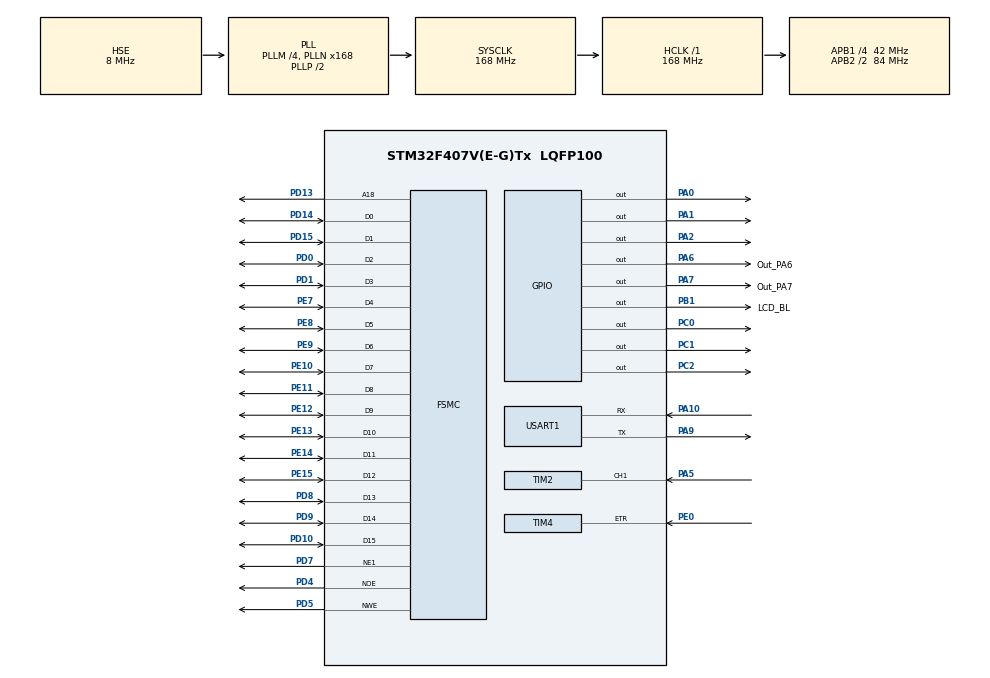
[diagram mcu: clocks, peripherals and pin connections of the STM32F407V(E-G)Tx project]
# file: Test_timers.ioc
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Dma.Request0=USART1_RX
Dma.USART1_RX.0.Direction=DMA_PERIPH_TO_MEMORY
Dma.USART1_RX.0.FIFOMode=DMA_FIFOMODE_DISABLE
Dma.USART1_RX.0.Instance=DMA2_Stream2
Dma.USART1_RX.0.MemDataAlignment=DMA_MDATAALIGN_HALFWORD
Dma.USART1_RX.0.MemInc=DMA_MINC_ENABLE
Dma.USART1_RX.0.Mode=DMA_CIRCULAR
Dma.USART1_RX.0.PeriphDataAlignment=DMA_PDATAALIGN_HALFWORD
Dma.USART1_RX.0.PeriphInc=DMA_PINC_DISABLE
Dma.USART1_RX.0.Priority=DMA_PRIORITY_MEDIUM
FSMC.AddressSetupTime1=1
FSMC.BusTurnAroundDuration1=0
FSMC.DataSetupTime1=5
Mcu.Family=STM32F4
Mcu.Name=STM32F407V(E-G)Tx
Mcu.Package=LQFP100
NVIC.DMA2_Stream2_IRQn=true\:0\:0\:false\:false\:true\:true\:true\:true
NVIC.PriorityGroup=NVIC_PRIORITYGROUP_4
NVIC.TIM2_IRQn=true\:0\:0\:false\:false\:true\:true\:true\:true
NVIC.TIM3_IRQn=true\:0\:0\:false\:false\:true\:true\:true\:true
NVIC.USART1_IRQn=true\:0\:0\:false\:false\:true\:true\:true\:true
PA0-WKUP.GPIO_Speed=GPIO_SPEED_FREQ_MEDIUM
PA0-WKUP.Signal=GPIO_Output
PA1.GPIO_Speed=GPIO_SPEED_FREQ_MEDIUM
PA1.Signal=GPIO_Output
PA10.Mode=Asynchronous
PA10.Signal=USART1_RX
PA13.Mode=Serial_Wire
PA13.Signal=SYS_JTMS-SWDIO
PA14.Mode=Serial_Wire
PA14.Signal=SYS_JTCK-SWCLK
PA2.GPIO_Speed=GPIO_SPEED_FREQ_MEDIUM
PA2.Signal=GPIO_Output
PA5.GPIO_PuPd=GPIO_PULLDOWN
PA5.Signal=S_TIM2_CH1_ETR
PA6.GPIO_Label=Out_PA6
PA6.Signal=GPIO_Output
PA7.GPIO_Label=Out_PA7
PA7.Signal=GPIO_Output
PA9.Mode=Asynchronous
PA9.Signal=USART1_TX
PB1.GPIO_Label=LCD_BL
PB1.Signal=GPIO_Output
PC0.GPIO_Speed=GPIO_SPEED_FREQ_MEDIUM
PC0.Signal=GPIO_Output
PC1.GPIO_Speed=GPIO_SPEED_FREQ_MEDIUM
PC1.Signal=GPIO_Output
PC2.GPIO_Speed=GPIO_SPEED_FREQ_MEDIUM
PC2.Signal=GPIO_Output
PD0.Mode=16b-d1
PD0.Signal=FSMC_D2
PD1.Mode=16b-d1
PD1.Signal=FSMC_D3
PD10.Mode=16b-d1
PD10.Signal=FSMC_D15
PD13.Mode=A18_1
PD13.Signal=FSMC_A18
PD14.Mode=16b-d1
PD14.Signal=FSMC_D0
PD15.Mode=16b-d1
PD15.Signal=FSMC_D1
PD4.Mode=Lcd1
PD4.Signal=FSMC_NOE
PD5.Mode=Lcd1
PD5.Signal=FSMC_NWE
PD7.Mode=NorPsramChipSelect1_1
PD7.Signal=FSMC_NE1
PD8.Mode=16b-d1
PD8.Signal=FSMC_D13
PD9.Mode=16b-d1
PD9.Signal=FSMC_D14
PE0.GPIO_PuPd=GPIO_PULLDOWN
PE0.Signal=S_TIM4_ETR
PE10.Mode=16b-d1
PE10.Signal=FSMC_D7
PE11.Mode=16b-d1
PE11.Signal=FSMC_D8
PE12.Mode=16b-d1
PE12.Signal=FSMC_D9
PE13.Mode=16b-d1
PE13.Signal=FSMC_D10
PE14.Mode=16b-d1
PE14.Signal=FSMC_D11
PE15.Mode=16b-d1
PE15.Signal=FSMC_D12
PE7.Mode=16b-d1
PE7.Signal=FSMC_D4
PE8.Mode=16b-d1
PE8.Signal=FSMC_D5
PE9.Mode=16b-d1
PE9.Signal=FSMC_D6
PH0-OSC_IN.Mode=HSE-External-Oscillator
PH0-OSC_IN.Signal=RCC_OSC_IN
PH1-OSC_OUT.Mode=HSE-External-Oscillator
PH1-OSC_OUT.Signal=RCC_OSC_OUT
ProjectManager.HeapSize=0x200
ProjectManager.StackSize=0x400
ProjectManager.TargetToolchain=STM32CubeIDE
RCC.48MHZClocksFreq_Value=84000000
RCC.AHBFreq_Value=168000000
RCC.APB1CLKDivider=RCC_HCLK_DIV4
RCC.APB1Freq_Value=42000000
RCC.APB1TimFreq_Value=84000000
RCC.APB2CLKDivider=RCC_HCLK_DIV2
RCC.APB2Freq_Value=84000000
RCC.APB2TimFreq_Value=168000000
RCC.CortexFreq_Value=168000000
RCC.HCLKFreq_Value=168000000
RCC.HSE_VALUE=8000000
RCC.HSI_VALUE=16000000
RCC.LSE_VALUE=32768
RCC.PLLM=4
RCC.PLLN=168
RCC.PLLSourceVirtual=RCC_PLLSOURCE_HSE
RCC.RCC_MCO1Source=RCC_MCO1SOURCE_HSE
RCC.RCC_MCODiv1=RCC_MCODIV_5
RCC.SYSCLKFreq_VALUE=168000000
RCC.SYSCLKSource=RCC_SYSCLKSOURCE_PLLCLK
RCC.VCOOutputFreq_Value=336000000
SH.S_TIM2_CH1_ETR.0=TIM2_CH1,Input_Capture1_from_TI1
SH.S_TIM4_ETR.0=TIM4_ETR,ClockSourceETR_Mode2
TIM2.Channel-Input_Capture1_from_TI1=TIM_CHANNEL_1
TIM2.Channel-Input_Capture2_from_TI1_63=TIM_CHANNEL_2
TIM2.Period=6000000-1
TIM2.Prescaler=84-1
TIM2.TIM_MasterOutputTrigger=TIM_TRGO_UPDATE
TIM3.Period=2000-1
TIM3.Prescaler=8400-1
TIM3.TIM_MasterOutputTrigger=TIM_TRGO_ENABLE
TIM4.TIM_MasterOutputTrigger=TIM_TRGO_UPDATE
USART1.VirtualMode=VM_ASYNC
VP_TIM2_VS_indirect_ch1.Mode=Input_Capture2_from_TI1_63
VP_TIM3_VS_OPM.Mode=OPM_bit
VP_TIM4_VS_ClockSourceITR.Mode=TriggerSource_ITR2
VP_TIM4_VS_ControllerModeGated.Mode=Gated Mode
board=custom

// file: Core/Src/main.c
/* USER CODE BEGIN Header */
/*
 * Этап 1. (Данные с расходомера)
 *
 * При старте, таймер №3 будет аппаратно подавать этот сигнал на таймер №4
 * и тем самым запускать его. При остановке таймера №3 этот сигнал будет снят
 * и таймер №4 остановится. То есть, мы «вручную» запустили таймер №3
 * (пошёл отсчёт секунды), а он в свою очередь «толкает» таймер №4, который
 * начинает тактироваться от измеряемой частоты и складывать поступающие импульсы
 * в свой счётчик. Таким образом у нас получается следующее:
 * оба таймера, №3 (отмеряющий секундный интервал? - 0,2 у нас) и №4 (считающий импульсы)
 * стартанут чётко одновременно, а когда таймер №3 отмерит секунду (?) 0,2 сек и остановится,
 * то и таймер №4 тоже остановится (перестанет считать импульсы) — в счётчике
 * таймера №4 будет лежать количество импульсов входящей частоты полученные
 * за одну секунду (?) 0,2 сек со входа TIM4_ETR.
 * Для плавности - таймер 3 работает с частотой 5 Гц
 *
 * Этап 2. (Датчик скорости)
 *
 * Измерение частоты импульсов с датчика скорости производится путем вычисления длины импульса
 * в режиме сравнения таймера 2. Зная длительность импульса, вычисляем частоту и соответственно
 * скорость движения агрегата.
 *
 * Скорость в км/ч = Частота импульсов с датчика * (Кол-во ипм на 100м / 100) * 3.6; (3.6 коэф перевода м/с в км/час)
 *
 */
/* USER CODE END Header */
#include "main.h"
#include "dma.h"
#include "tim.h"
#include "usart.h"
#include "gpio.h"
#include "fsmc.h"

/* USER CODE BEGIN Includes */
#include <stdio.h>
#include <stdlib.h>
#include <string.h>
#include "ad9833.h"
#include "lcd_app.h"
/* USER CODE END Includes */

/* USER CODE BEGIN PD */

//------------------- ВКЛ - ВЫКЛ -------------------------------------------------------------------------------
#define PRINT_TO_LCD_ON                 // ВКЛ инициализация LCD и печать данных на нем
//---------------------------------------------------------------------------------------------------------------

/* USER CODE END PD */

/* USER CODE BEGIN PV */

//-------НЕ ТРОГАТЬ !!! Глобальные переменные------------------------------------------------------------------
uint16_t input_pulse_counter          = 0;        // счетчи кол-ва импульсов за (1/freq_measure_input_pulse =0.2 сек)
uint32_t duration_input_pulse_mks = 0;            // длительность входного импульса в мкс (с датчика скорости (генератора))

//---НЕ трогать !!! Флаги прерываний !---------------------------------------------------------------------------
bool flag_flowmeter_tim3_IT = false;          // флаг сработки таймера 3 по прерыванию (счет EXT imp flowmeter)
bool flag_dwin_tx_IT = false;                 // флаг получения данных от DWIN в буфер UART
bool flag_tim2_IT = false;            // флаг сработки таймера 2 по прерыванию (счет EXT имп speedmeter)
bool flag_tim2_IT_NON_inpuls = false; // флаг сработки таймера 2 по прерыванию (переполнение счетчика)
                                                 // для отслеживания пропадания входных импульсов
//---------------------------------------------------------------------------------------------------------------
/* USER CODE END PV */

void SystemClock_Config(void);
/* USER CODE BEGIN PFP */

//void DWIN_Reset_var(void);
/* USER CODE END PFP */

int main(void)
{

  /* MCU Configuration--------------------------------------------------------*/

  /* Reset of all peripherals, Initializes the Flash interface and the Systick. */
  HAL_Init();

  /* Configure the system clock */
  SystemClock_Config();

  /* Initialize all configured peripherals */
  MX_GPIO_Init();
  MX_DMA_Init();
  MX_FSMC_Init();
  MX_TIM3_Init();
  MX_TIM4_Init();
  MX_USART1_UART_Init();
  MX_TIM2_Init();
  /* USER CODE BEGIN 2 */
#ifdef PRINT_TO_LCD_ON
	LCD_Start();
#endif /*PRINT_TO_LCD_ON*/

	DWIN_Start_page();
	INIT_AD9833 ();
	dwinUartDmaInit();

  /* USER CODE END 2 */

  /* Infinite loop */
  /* USER CODE BEGIN WHILE */
//=========================================================================================================================================
	while (1) {
//=========================================================================================================================================

		DWIN_Select_mode();

    /* USER CODE END WHILE */

	}
}

void SystemClock_Config(void)
{
  RCC_OscInitTypeDef RCC_OscInitStruct = {0};
  RCC_ClkInitTypeDef RCC_ClkInitStruct = {0};

  /** Configure the main internal regulator output voltage
  */
  __HAL_RCC_PWR_CLK_ENABLE();
  __HAL_PWR_VOLTAGESCALING_CONFIG(PWR_REGULATOR_VOLTAGE_SCALE1);

  /** Initializes the RCC Oscillators according to the specified parameters
  * in the RCC_OscInitTypeDef structure.
  */
  RCC_OscInitStruct.OscillatorType = RCC_OSCILLATORTYPE_HSE;
  RCC_OscInitStruct.HSEState = RCC_HSE_ON;
  RCC_OscInitStruct.PLL.PLLState = RCC_PLL_ON;
  RCC_OscInitStruct.PLL.PLLSource = RCC_PLLSOURCE_HSE;
  RCC_OscInitStruct.PLL.PLLM = 4;
  RCC_OscInitStruct.PLL.PLLN = 168;
  RCC_OscInitStruct.PLL.PLLP = RCC_PLLP_DIV2;
  RCC_OscInitStruct.PLL.PLLQ = 4;
  if (HAL_RCC_OscConfig(&RCC_OscInitStruct) != HAL_OK)
  {
    Error_Handler();
  }

  /** Initializes the CPU, AHB and APB buses clocks
  */
  RCC_ClkInitStruct.ClockType = RCC_CLOCKTYPE_HCLK|RCC_CLOCKTYPE_SYSCLK
                              |RCC_CLOCKTYPE_PCLK1|RCC_CLOCKTYPE_PCLK2;
  RCC_ClkInitStruct.SYSCLKSource = RCC_SYSCLKSOURCE_PLLCLK;
  RCC_ClkInitStruct.AHBCLKDivider = RCC_SYSCLK_DIV1;
  RCC_ClkInitStruct.APB1CLKDivider = RCC_HCLK_DIV4;
  RCC_ClkInitStruct.APB2CLKDivider = RCC_HCLK_DIV2;

  if (HAL_RCC_ClockConfig(&RCC_ClkInitStruct, FLASH_LATENCY_5) != HAL_OK)
  {
    Error_Handler();
  }
}

/* USER CODE BEGIN 4 */

//		 memset (strX, 0, sizeof (strX)); // образец

//-------------------------  EXTERN FLOWMETER  ------------------------------------------------------
void HAL_TIM_PeriodElapsedCallback(TIM_HandleTypeDef *htim) {
	if (htim == &htim3) // частота 5 Гц (0,2 сек) = задается для расчетов - freq_measure_flowmeter
			{
		input_pulse_counter = __HAL_TIM_GET_COUNTER(&htim4); // значение в счётчике таймера №4 (за 0,2сек)
		// кол-во импульсов за (1/freq_measure_input_pulse =0.2 сек)
		HAL_TIM_Base_Stop_IT(&htim3);
		flag_flowmeter_tim3_IT = true;
       // обнуляем счётчики и рестартуем таймер №3
		__HAL_TIM_SET_COUNTER(&htim3, 0x0000);
		__HAL_TIM_SET_COUNTER(&htim4, 0x0000);
		HAL_TIM_Base_Start_IT(&htim3);
	}
	if (htim == &htim2) {
		flag_tim2_IT_NON_inpuls = true;
	}
}

// ------------------------------------- UART -------------------------------------------------------
void HAL_UART_RxCpltCallback(UART_HandleTypeDef *huart) {
	if (huart == &huart1) {
		flag_dwin_tx_IT = true;
	}
}

//------------------------------  EXTERN SPEEDMETER -------------------------------------------------
void HAL_TIM_IC_CaptureCallback(TIM_HandleTypeDef *htim){
        if(htim->Instance == TIM2) {
           if(htim->Channel == HAL_TIM_ACTIVE_CHANNEL_1)      // RISING с LOW на HIGH
           __HAL_TIM_SET_COUNTER(&htim2, 0x0000);     // обнуление счётчика
           else if(htim->Channel == HAL_TIM_ACTIVE_CHANNEL_2) // RISING с LOW на HIGH
             {
              duration_input_pulse_mks = (HAL_TIM_ReadCapturedValue(&htim2, TIM_CHANNEL_2) + 1); // чтение значения в регистре захвата/сравнения
              flag_tim2_IT = true;
             }
        }
}
/* USER CODE END 4 */

void Error_Handler(void)
{
	__disable_irq();
	while (1) {
	}
}
